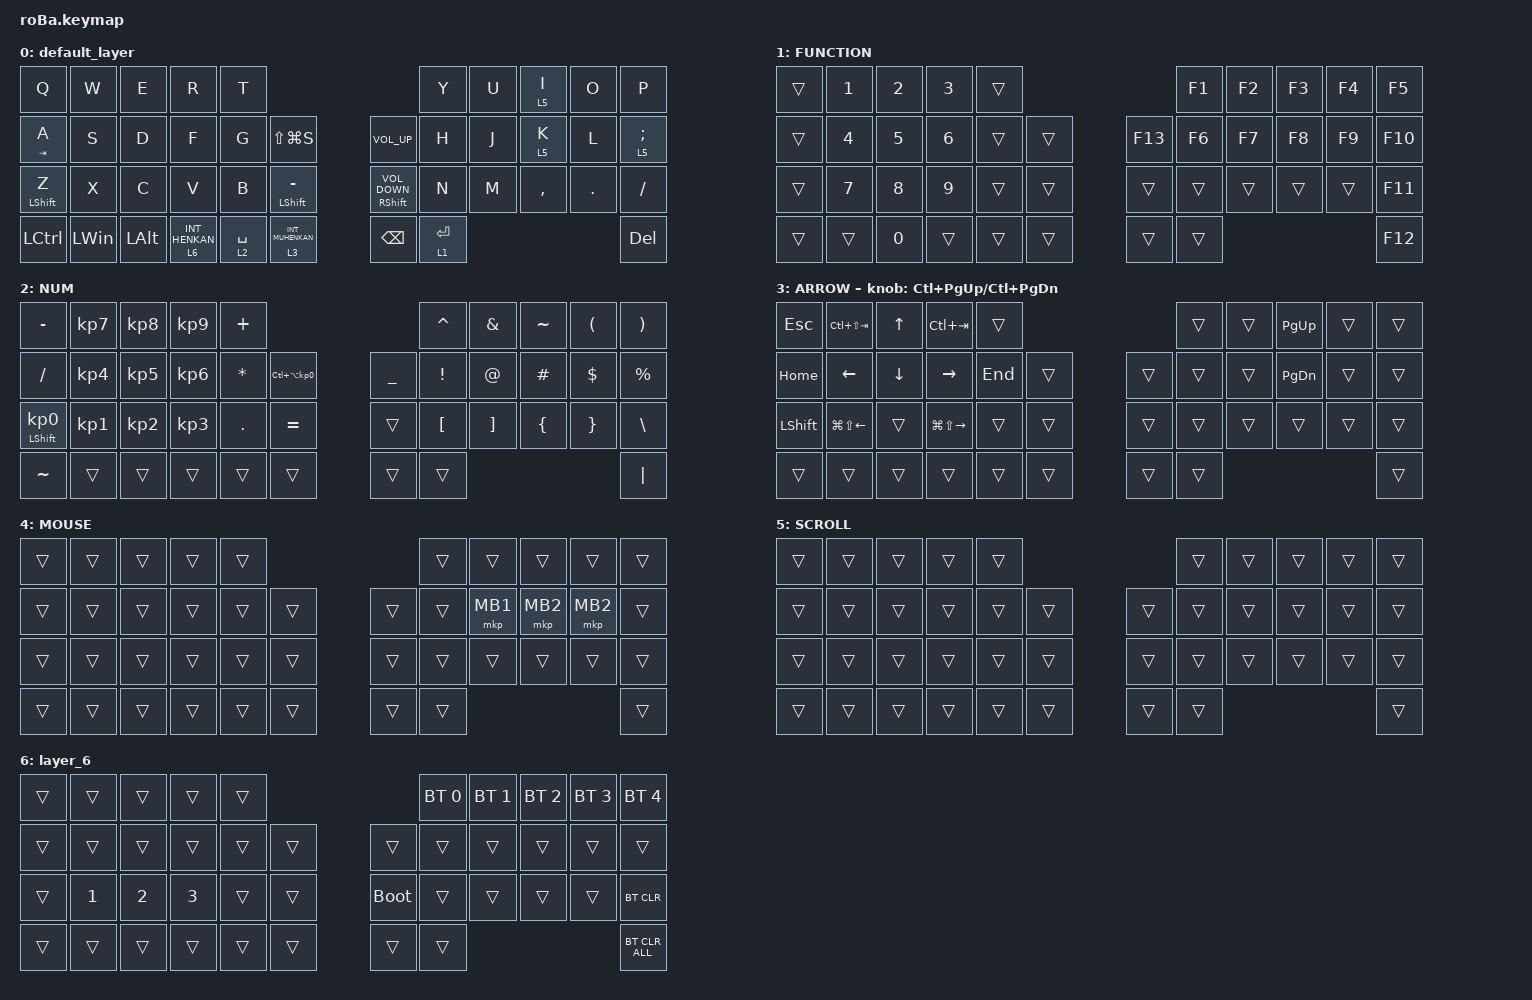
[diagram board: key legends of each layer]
#include <behaviors.dtsi>
#include <dt-bindings/zmk/bt.h>
#include <dt-bindings/zmk/keys.h>
#include <dt-bindings/zmk/pointing.h>

&mt {
    flavor = "balanced";
    quick-tap-ms = <0>;
};

&trackball {
    automouse-layer = <4>;
    scroll-layers = <5>;

    // arrows {
    //     layers = <3>;
    //     bindings =
    //         <&kp RIGHT_ARROW>,
    //         <&kp LEFT_ARROW>,
    //         <&kp UP_ARROW>,
    //         <&kp DOWN_ARROW>;
    //     tick = <10>;
    //     wait-ms = <5>;
    //     tap-ms = <5>;
    // };
};

/ {
    combos {
        compatible = "zmk,combos";

        tab {
            bindings = <&kp TAB>;
            key-positions = <11 12>;
        };

        shift_tab {
            bindings = <&kp LS(TAB)>;
            key-positions = <12 13>;
        };

        muhennkann {
            bindings = <&to_layer_0 INT_MUHENKAN>;
            key-positions = <11 10>;
        };

        double_quotation {
            bindings = <&kp DOUBLE_QUOTES>;
            key-positions = <20 21>;
        };

        eq {
            bindings = <&kp EQUAL>;
            key-positions = <24 25>;
        };
    };

    macros {
        to_layer_0: to_layer_0 {
            compatible = "zmk,behavior-macro-one-param";
            #binding-cells = <1>;
            bindings = <&to 0 &macro_param_1to1 &kp MACRO_PLACEHOLDER>;
            label = "TO_LAYER_0";
        };
    };

    behaviors {
        lt_to_layer_0: lt_to_layer_0 {
            compatible = "zmk,behavior-hold-tap";
            label = "LAYER_TAP_TO_0";
            bindings = <&mo>, <&to_layer_0>;

            #binding-cells = <2>;
            tapping-term-ms = <200>;
        };
    };

    keymap {
        compatible = "zmk,keymap";

        default_layer {
            bindings = <
&kp Q             &kp W         &kp E         &kp R                        &kp T                                                                          &kp Y        &kp U  &lt 5 I    &kp O    &kp P
&mt TAB A         &kp S         &kp D         &kp F                        &kp G        &kp LS(LG(S))                      &kp C_VOLUME_UP                &kp H        &kp J  &lt 5 K    &kp L    &lt 5 SEMICOLON
&mt LEFT_SHIFT Z  &kp X         &kp C         &kp V                        &kp B        &mt LEFT_SHIFT MINUS               &mt RIGHT_SHIFT C_VOLUME_DOWN  &kp N        &kp M  &kp COMMA  &kp DOT  &kp SLASH
&kp LEFT_CONTROL  &kp LEFT_WIN  &kp LEFT_ALT  &lt_to_layer_0 6 INT_HENKAN  &lt 2 SPACE  &lt_to_layer_0 3 INT_MUHENKAN      &kp BACKSPACE                  &lt 1 ENTER                             &kp DEL
            >;
        };

        FUNCTION {
            bindings = <
&trans  &kp NUMBER_1  &kp NUMBER_2  &kp NUMBER_3  &trans                       &kp F1  &kp F2  &kp F3  &kp F4  &kp F5
&trans  &kp NUMBER_4  &kp N5        &kp NUMBER_6  &trans  &trans      &kp F13  &kp F6  &kp F7  &kp F8  &kp F9  &kp F10
&trans  &kp N7        &kp N8        &kp N9        &trans  &trans      &trans   &trans  &trans  &trans  &trans  &kp F11
&trans  &trans        &kp N0        &trans        &trans  &trans      &trans   &trans                          &kp F12
            >;
        };

        NUM {
            bindings = <
&kp MINUS                   &kp KP_NUMBER_7  &kp KP_NUMBER_8  &kp KP_NUMBER_9  &kp PLUS                                                   &kp CARET         &kp AMPERSAND      &kp TILDE       &kp LEFT_PARENTHESIS  &kp RIGHT_PARENTHESIS
&kp SLASH                   &kp KP_NUMBER_4  &kp KP_NUMBER_5  &kp KP_NUMBER_6  &kp ASTERISK  &kp LC(LA(KP_NUMBER_0))      &kp UNDERSCORE  &kp EXCLAMATION   &kp AT_SIGN        &kp HASH        &kp DOLLAR            &kp PERCENT
&mt LEFT_SHIFT KP_NUMBER_0  &kp KP_NUMBER_1  &kp KP_NUMBER_2  &kp KP_NUMBER_3  &kp PERIOD    &kp EQUAL                    &trans          &kp LEFT_BRACKET  &kp RIGHT_BRACKET  &kp LEFT_BRACE  &kp RIGHT_BRACE       &kp BACKSLASH
&kp TILDE                   &trans           &trans           &trans           &trans        &trans                       &trans          &trans                                                                     &kp PIPE
            >;
        };

        ARROW {
            bindings = <
&kp ESCAPE      &kp LC(LS(TAB))         &kp UP_ARROW    &kp LC(TAB)              &trans                       &trans  &trans  &kp PAGE_UP    &trans  &trans
&kp HOME        &kp LEFT_ARROW          &kp DOWN_ARROW  &kp RIGHT_ARROW          &kp END  &trans      &trans  &trans  &trans  &kp PAGE_DOWN  &trans  &trans
&kp LEFT_SHIFT  &kp LG(LS(LEFT_ARROW))  &trans          &kp LG(LS(RIGHT_ARROW))  &trans   &trans      &trans  &trans  &trans  &trans         &trans  &trans
&trans          &trans                  &trans          &trans                   &trans   &trans      &trans  &trans                                 &trans
            >;

            sensor-bindings = <&inc_dec_kp LC(PAGE_UP) LC(PAGE_DOWN)>;
        };

        MOUSE {
            bindings = <
&trans  &trans  &trans  &trans  &trans                      &trans  &trans    &trans    &trans    &trans
&trans  &trans  &trans  &trans  &trans  &trans      &trans  &trans  &mkp MB1  &mkp MB2  &mkp MB2  &trans
&trans  &trans  &trans  &trans  &trans  &trans      &trans  &trans  &trans    &trans    &trans    &trans
&trans  &trans  &trans  &trans  &trans  &trans      &trans  &trans                                &trans
            >;
        };

        SCROLL {
            bindings = <
&trans  &trans  &trans  &trans  &trans                      &trans  &trans  &trans  &trans  &trans
&trans  &trans  &trans  &trans  &trans  &trans      &trans  &trans  &trans  &trans  &trans  &trans
&trans  &trans  &trans  &trans  &trans  &trans      &trans  &trans  &trans  &trans  &trans  &trans
&trans  &trans  &trans  &trans  &trans  &trans      &trans  &trans                          &trans
            >;
        };

        layer_6 {
            bindings = <
&trans  &trans        &trans        &trans        &trans                           &bt BT_SEL 0  &bt BT_SEL 1  &bt BT_SEL 2  &bt BT_SEL 3  &bt BT_SEL 4
&trans  &trans        &trans        &trans        &trans  &trans      &trans       &trans        &trans        &trans        &trans        &trans
&trans  &kp NUMBER_1  &kp NUMBER_2  &kp NUMBER_3  &trans  &trans      &bootloader  &trans        &trans        &trans        &trans        &bt BT_CLR
&trans  &trans        &trans        &trans        &trans  &trans      &trans       &trans                                                  &bt BT_CLR_ALL
            >;
        };
    };
};
